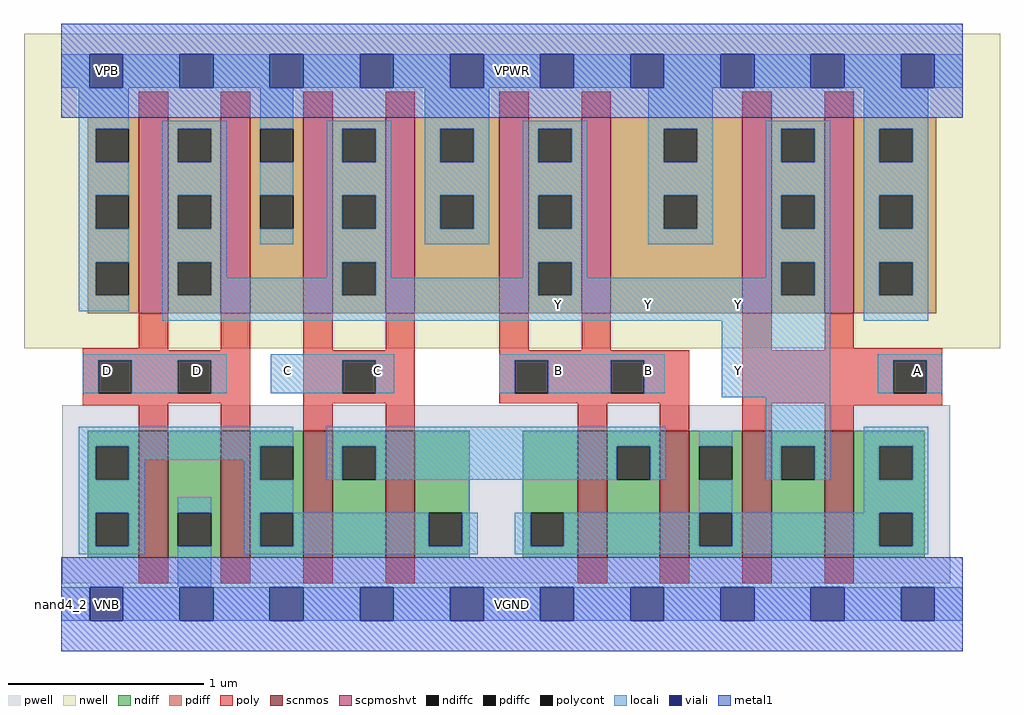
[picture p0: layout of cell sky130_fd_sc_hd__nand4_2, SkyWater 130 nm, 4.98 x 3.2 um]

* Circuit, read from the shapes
.subckt sky130_fd_sc_hd__nand4_2 A B C D VGND VNB VPB VPWR Y
XM1 VGND D n1 VNB sky130_fd_pr__nfet_01v8 w=0.65 l=0.15 m=2
XM2 n2 C n1 VNB sky130_fd_pr__nfet_01v8 w=0.65 l=0.15 m=2
XM3 n2 B n3 VNB sky130_fd_pr__nfet_01v8 w=0.65 l=0.15 m=2
XM4 Y A n3 VNB sky130_fd_pr__nfet_01v8 w=0.65 l=0.15 m=2
XM5 Y D VPWR VPB sky130_fd_pr__pfet_01v8_hvt w=1 l=0.15 m=2
XM6 Y C VPWR VPB sky130_fd_pr__pfet_01v8_hvt w=1 l=0.15 m=2
XM7 Y B VPWR VPB sky130_fd_pr__pfet_01v8_hvt w=1 l=0.15 m=2
XM8 Y A VPWR VPB sky130_fd_pr__pfet_01v8_hvt w=1 l=0.15 m=2
.ends

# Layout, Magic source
magic
tech sky130B
magscale 1 2
<< nwell >>
rect -38 261 958 582
<< pwell >>
rect 1 21 907 203
rect 30 -17 64 21
<< scnmos >>
rect 79 47 109 177
rect 163 47 193 177
rect 247 47 277 177
rect 331 47 361 177
rect 527 47 557 177
rect 611 47 641 177
rect 695 47 725 177
rect 779 47 809 177
<< scpmoshvt >>
rect 79 297 109 497
rect 163 297 193 497
rect 247 297 277 497
rect 331 297 361 497
rect 447 297 477 497
rect 531 297 561 497
rect 695 297 725 497
rect 779 297 809 497
<< ndiff >>
rect 27 161 79 177
rect 27 127 35 161
rect 69 127 79 161
rect 27 93 79 127
rect 27 59 35 93
rect 69 59 79 93
rect 27 47 79 59
rect 109 93 163 177
rect 109 59 119 93
rect 153 59 163 93
rect 109 47 163 59
rect 193 161 247 177
rect 193 127 203 161
rect 237 127 247 161
rect 193 93 247 127
rect 193 59 203 93
rect 237 59 247 93
rect 193 47 247 59
rect 277 161 331 177
rect 277 127 287 161
rect 321 127 331 161
rect 277 47 331 127
rect 361 93 417 177
rect 361 59 375 93
rect 409 59 417 93
rect 361 47 417 59
rect 471 93 527 177
rect 471 59 479 93
rect 513 59 527 93
rect 471 47 527 59
rect 557 161 611 177
rect 557 127 567 161
rect 601 127 611 161
rect 557 47 611 127
rect 641 161 695 177
rect 641 127 651 161
rect 685 127 695 161
rect 641 93 695 127
rect 641 59 651 93
rect 685 59 695 93
rect 641 47 695 59
rect 725 161 779 177
rect 725 127 735 161
rect 769 127 779 161
rect 725 47 779 127
rect 809 161 881 177
rect 809 127 835 161
rect 869 127 881 161
rect 809 93 881 127
rect 809 59 835 93
rect 869 59 881 93
rect 809 47 881 59
<< pdiff >>
rect 27 485 79 497
rect 27 451 35 485
rect 69 451 79 485
rect 27 417 79 451
rect 27 383 35 417
rect 69 383 79 417
rect 27 349 79 383
rect 27 315 35 349
rect 69 315 79 349
rect 27 297 79 315
rect 109 485 163 497
rect 109 451 119 485
rect 153 451 163 485
rect 109 417 163 451
rect 109 383 119 417
rect 153 383 163 417
rect 109 349 163 383
rect 109 315 119 349
rect 153 315 163 349
rect 109 297 163 315
rect 193 485 247 497
rect 193 451 203 485
rect 237 451 247 485
rect 193 417 247 451
rect 193 383 203 417
rect 237 383 247 417
rect 193 297 247 383
rect 277 485 331 497
rect 277 451 287 485
rect 321 451 331 485
rect 277 417 331 451
rect 277 383 287 417
rect 321 383 331 417
rect 277 349 331 383
rect 277 315 287 349
rect 321 315 331 349
rect 277 297 331 315
rect 361 485 447 497
rect 361 451 387 485
rect 421 451 447 485
rect 361 417 447 451
rect 361 383 387 417
rect 421 383 447 417
rect 361 297 447 383
rect 477 485 531 497
rect 477 451 487 485
rect 521 451 531 485
rect 477 417 531 451
rect 477 383 487 417
rect 521 383 531 417
rect 477 349 531 383
rect 477 315 487 349
rect 521 315 531 349
rect 477 297 531 315
rect 561 485 695 497
rect 561 451 615 485
rect 649 451 695 485
rect 561 417 695 451
rect 561 383 615 417
rect 649 383 695 417
rect 561 297 695 383
rect 725 485 779 497
rect 725 451 735 485
rect 769 451 779 485
rect 725 417 779 451
rect 725 383 735 417
rect 769 383 779 417
rect 725 349 779 383
rect 725 315 735 349
rect 769 315 779 349
rect 725 297 779 315
rect 809 485 893 497
rect 809 451 835 485
rect 869 451 893 485
rect 809 417 893 451
rect 809 383 835 417
rect 869 383 893 417
rect 809 349 893 383
rect 809 315 835 349
rect 869 315 893 349
rect 809 297 893 315
<< ndiffc >>
rect 35 127 69 161
rect 35 59 69 93
rect 119 59 153 93
rect 203 127 237 161
rect 203 59 237 93
rect 287 127 321 161
rect 375 59 409 93
rect 479 59 513 93
rect 567 127 601 161
rect 651 127 685 161
rect 651 59 685 93
rect 735 127 769 161
rect 835 127 869 161
rect 835 59 869 93
<< pdiffc >>
rect 35 451 69 485
rect 35 383 69 417
rect 35 315 69 349
rect 119 451 153 485
rect 119 383 153 417
rect 119 315 153 349
rect 203 451 237 485
rect 203 383 237 417
rect 287 451 321 485
rect 287 383 321 417
rect 287 315 321 349
rect 387 451 421 485
rect 387 383 421 417
rect 487 451 521 485
rect 487 383 521 417
rect 487 315 521 349
rect 615 451 649 485
rect 615 383 649 417
rect 735 451 769 485
rect 735 383 769 417
rect 735 315 769 349
rect 835 451 869 485
rect 835 383 869 417
rect 835 315 869 349
<< poly >>
rect 79 497 109 523
rect 163 497 193 523
rect 247 497 277 523
rect 331 497 361 523
rect 447 497 477 523
rect 531 497 561 523
rect 695 497 725 523
rect 779 497 809 523
rect 79 261 109 297
rect 22 259 109 261
rect 163 259 193 297
rect 22 249 193 259
rect 22 215 38 249
rect 72 215 119 249
rect 153 215 193 249
rect 22 205 193 215
rect 22 203 109 205
rect 79 177 109 203
rect 163 177 193 205
rect 247 259 277 297
rect 331 259 361 297
rect 247 249 361 259
rect 247 215 287 249
rect 321 215 361 249
rect 247 205 361 215
rect 447 259 477 297
rect 531 259 561 297
rect 695 259 725 297
rect 779 261 809 297
rect 779 259 899 261
rect 447 249 641 259
rect 447 215 463 249
rect 497 215 561 249
rect 595 215 641 249
rect 447 205 641 215
rect 247 177 277 205
rect 331 177 361 205
rect 527 177 557 205
rect 611 177 641 205
rect 695 249 899 259
rect 695 215 849 249
rect 883 215 899 249
rect 695 205 899 215
rect 695 177 725 205
rect 779 203 899 205
rect 779 177 809 203
rect 79 21 109 47
rect 163 21 193 47
rect 247 21 277 47
rect 331 21 361 47
rect 527 21 557 47
rect 611 21 641 47
rect 695 21 725 47
rect 779 21 809 47
<< polycont >>
rect 38 215 72 249
rect 119 215 153 249
rect 287 215 321 249
rect 463 215 497 249
rect 561 215 595 249
rect 849 215 883 249
<< locali >>
rect 0 527 29 561
rect 63 527 121 561
rect 155 527 213 561
rect 247 527 305 561
rect 339 527 397 561
rect 431 527 489 561
rect 523 527 581 561
rect 615 527 673 561
rect 707 527 765 561
rect 799 527 857 561
rect 891 527 920 561
rect 18 485 69 527
rect 18 451 35 485
rect 18 417 69 451
rect 18 383 35 417
rect 18 349 69 383
rect 18 315 35 349
rect 18 299 69 315
rect 103 485 169 493
rect 103 451 119 485
rect 153 451 169 485
rect 103 417 169 451
rect 103 383 119 417
rect 153 383 169 417
rect 103 349 169 383
rect 203 485 237 527
rect 203 417 237 451
rect 203 367 237 383
rect 271 485 337 493
rect 271 451 287 485
rect 321 451 337 485
rect 271 417 337 451
rect 271 383 287 417
rect 321 383 337 417
rect 103 315 119 349
rect 153 333 169 349
rect 271 349 337 383
rect 371 485 437 527
rect 371 451 387 485
rect 421 451 437 485
rect 371 417 437 451
rect 371 383 387 417
rect 421 383 437 417
rect 371 367 437 383
rect 471 485 537 493
rect 471 451 487 485
rect 521 451 537 485
rect 471 417 537 451
rect 471 383 487 417
rect 521 383 537 417
rect 271 333 287 349
rect 153 315 287 333
rect 321 333 337 349
rect 471 349 537 383
rect 599 485 665 527
rect 599 451 615 485
rect 649 451 665 485
rect 599 417 665 451
rect 599 383 615 417
rect 649 383 665 417
rect 599 367 665 383
rect 719 485 785 493
rect 719 451 735 485
rect 769 451 785 485
rect 719 417 785 451
rect 719 383 735 417
rect 769 383 785 417
rect 471 333 487 349
rect 321 315 487 333
rect 521 333 537 349
rect 719 349 785 383
rect 719 333 735 349
rect 521 315 735 333
rect 769 315 785 349
rect 103 289 785 315
rect 819 485 885 527
rect 819 451 835 485
rect 869 451 885 485
rect 819 417 885 451
rect 819 383 835 417
rect 869 383 885 417
rect 819 349 885 383
rect 819 315 835 349
rect 869 315 885 349
rect 819 289 885 315
rect 22 249 169 255
rect 22 215 38 249
rect 72 215 119 249
rect 153 215 169 249
rect 214 249 340 255
rect 214 215 287 249
rect 321 215 340 249
rect 447 249 616 255
rect 447 215 463 249
rect 497 215 561 249
rect 595 215 616 249
rect 674 211 785 289
rect 833 249 899 255
rect 833 215 849 249
rect 883 215 899 249
rect 18 161 237 181
rect 18 127 35 161
rect 69 147 203 161
rect 69 127 85 147
rect 18 93 85 127
rect 187 127 203 147
rect 271 161 617 181
rect 271 127 287 161
rect 321 127 567 161
rect 601 127 617 161
rect 651 161 685 177
rect 719 161 785 211
rect 719 127 735 161
rect 769 127 785 161
rect 819 161 885 181
rect 819 127 835 161
rect 869 127 885 161
rect 18 59 35 93
rect 69 59 85 93
rect 18 51 85 59
rect 119 93 153 109
rect 119 17 153 59
rect 187 93 237 127
rect 651 93 685 127
rect 819 93 885 127
rect 187 59 203 93
rect 237 59 375 93
rect 409 59 425 93
rect 187 51 425 59
rect 463 59 479 93
rect 513 59 651 93
rect 685 59 835 93
rect 869 59 885 93
rect 463 51 885 59
rect 0 -17 29 17
rect 63 -17 121 17
rect 155 -17 213 17
rect 247 -17 305 17
rect 339 -17 397 17
rect 431 -17 489 17
rect 523 -17 581 17
rect 615 -17 673 17
rect 707 -17 765 17
rect 799 -17 857 17
rect 891 -17 920 17
<< viali >>
rect 29 527 63 561
rect 121 527 155 561
rect 213 527 247 561
rect 305 527 339 561
rect 397 527 431 561
rect 489 527 523 561
rect 581 527 615 561
rect 673 527 707 561
rect 765 527 799 561
rect 857 527 891 561
rect 29 -17 63 17
rect 121 -17 155 17
rect 213 -17 247 17
rect 305 -17 339 17
rect 397 -17 431 17
rect 489 -17 523 17
rect 581 -17 615 17
rect 673 -17 707 17
rect 765 -17 799 17
rect 857 -17 891 17
<< metal1 >>
rect 0 561 920 592
rect 0 527 29 561
rect 63 527 121 561
rect 155 527 213 561
rect 247 527 305 561
rect 339 527 397 561
rect 431 527 489 561
rect 523 527 581 561
rect 615 527 673 561
rect 707 527 765 561
rect 799 527 857 561
rect 891 527 920 561
rect 0 496 920 527
rect 0 17 920 48
rect 0 -17 29 17
rect 63 -17 121 17
rect 155 -17 213 17
rect 247 -17 305 17
rect 339 -17 397 17
rect 431 -17 489 17
rect 523 -17 581 17
rect 615 -17 673 17
rect 707 -17 765 17
rect 799 -17 857 17
rect 891 -17 920 17
rect 0 -48 920 -17
<< labels >>
flabel locali s 582 221 616 255 0 FreeSans 250 0 0 0 B
port 2 nsew signal input
flabel locali s 490 221 524 255 0 FreeSans 250 0 0 0 B
port 2 nsew signal input
flabel locali s 857 221 891 255 0 FreeSans 250 0 0 0 A
port 1 nsew signal input
flabel locali s 490 289 524 323 0 FreeSans 250 0 0 0 Y
port 9 nsew signal output
flabel locali s 582 289 616 323 0 FreeSans 250 0 0 0 Y
port 9 nsew signal output
flabel locali s 674 221 708 255 0 FreeSans 250 0 0 0 Y
port 9 nsew signal output
flabel locali s 674 289 708 323 0 FreeSans 250 0 0 0 Y
port 9 nsew signal output
flabel locali s 122 221 156 255 0 FreeSans 250 0 0 0 D
port 4 nsew signal input
flabel locali s 30 221 64 255 0 FreeSans 250 0 0 0 D
port 4 nsew signal input
flabel locali s 306 221 340 255 0 FreeSans 250 0 0 0 C
port 3 nsew signal input
flabel locali s 214 221 248 255 0 FreeSans 250 0 0 0 C
port 3 nsew signal input
flabel pwell s 30 -17 64 17 0 FreeSans 200 0 0 0 VNB
port 6 nsew ground bidirectional
flabel nwell s 30 527 64 561 0 FreeSans 200 0 0 0 VPB
port 7 nsew power bidirectional
flabel metal1 s 30 -17 64 17 0 FreeSans 200 0 0 0 VGND
port 5 nsew ground bidirectional abutment
flabel metal1 s 30 527 64 561 0 FreeSans 200 0 0 0 VPWR
port 8 nsew power bidirectional abutment
rlabel comment s 0 0 0 0 4 nand4_2
rlabel metal1 s 0 -48 920 48 1 VGND
port 5 nsew ground bidirectional abutment
rlabel metal1 s 0 496 920 592 1 VPWR
port 8 nsew power bidirectional abutment
<< properties >>
string FIXED_BBOX 0 0 920 544
string GDS_END 1876840
string GDS_FILE $PDKPATH/libs.ref/sky130_fd_sc_hd/gds/sky130_fd_sc_hd.gds
string GDS_START 1868112
string LEFclass CORE
string LEFsite unithd
string LEFsymmetry X Y R90
string path 0.000 0.000 23.000 0.000 
<< end >>
